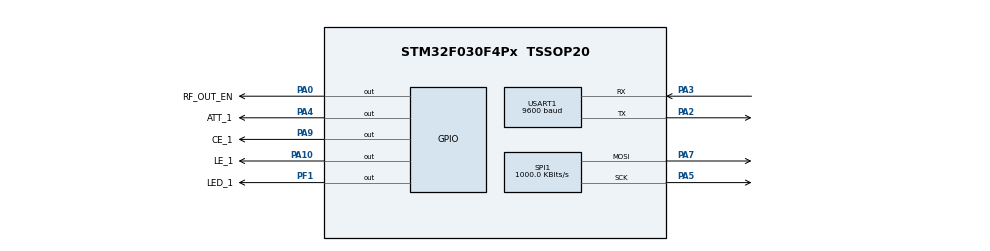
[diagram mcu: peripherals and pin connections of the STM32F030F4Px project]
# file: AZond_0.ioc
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Dma.Request0=USART1_RX
Dma.Request1=USART1_TX
Dma.USART1_RX.0.Direction=DMA_PERIPH_TO_MEMORY
Dma.USART1_RX.0.Instance=DMA1_Channel3
Dma.USART1_RX.0.MemDataAlignment=DMA_MDATAALIGN_BYTE
Dma.USART1_RX.0.MemInc=DMA_MINC_ENABLE
Dma.USART1_RX.0.Mode=DMA_NORMAL
Dma.USART1_RX.0.PeriphDataAlignment=DMA_PDATAALIGN_BYTE
Dma.USART1_RX.0.PeriphInc=DMA_PINC_DISABLE
Dma.USART1_RX.0.Priority=DMA_PRIORITY_HIGH
Dma.USART1_TX.1.Direction=DMA_MEMORY_TO_PERIPH
Dma.USART1_TX.1.Instance=DMA1_Channel2
Dma.USART1_TX.1.MemDataAlignment=DMA_MDATAALIGN_BYTE
Dma.USART1_TX.1.MemInc=DMA_MINC_ENABLE
Dma.USART1_TX.1.Mode=DMA_NORMAL
Dma.USART1_TX.1.PeriphDataAlignment=DMA_PDATAALIGN_BYTE
Dma.USART1_TX.1.PeriphInc=DMA_PINC_DISABLE
Dma.USART1_TX.1.Priority=DMA_PRIORITY_LOW
Mcu.Family=STM32F0
Mcu.Name=STM32F030F4Px
Mcu.Package=TSSOP20
NVIC.DMA1_Channel2_3_IRQn=true\:0\:0\:false\:false\:true\:false\:true\:true
NVIC.USART1_IRQn=true\:0\:0\:false\:false\:true\:true\:true\:true
PA0.GPIO_Label=RF_OUT_EN
PA0.Signal=GPIO_Output
PA10.GPIO_Label=LE_1
PA10.Signal=GPIO_Output
PA13.Mode=Serial_Wire
PA13.Signal=SYS_SWDIO
PA14.Mode=Serial_Wire
PA14.Signal=SYS_SWCLK
PA2.Mode=Asynchronous
PA2.Signal=USART1_TX
PA3.Mode=Asynchronous
PA3.Signal=USART1_RX
PA4.GPIO_Label=ATT_1
PA4.Signal=GPIO_Output
PA5.Mode=TX_Only_Simplex_Unidirect_Master
PA5.Signal=SPI1_SCK
PA7.Mode=TX_Only_Simplex_Unidirect_Master
PA7.Signal=SPI1_MOSI
PA9.GPIO_Label=CE_1
PA9.Signal=GPIO_Output
PF1-OSC_OUT.GPIO_Label=LED_1
PF1-OSC_OUT.Signal=GPIO_Output
ProjectManager.HeapSize=0x200
ProjectManager.StackSize=0x400
ProjectManager.TargetToolchain=STM32CubeIDE
SPI1.BaudRatePrescaler=SPI_BAUDRATEPRESCALER_8
SPI1.CLKPolarity=SPI_POLARITY_LOW
SPI1.CalculateBaudRate=1000.0 KBits/s
SPI1.DataSize=SPI_DATASIZE_8BIT
SPI1.Direction=SPI_DIRECTION_2LINES
SPI1.Mode=SPI_MODE_MASTER
SPI1.VirtualType=VM_MASTER
USART1.BaudRate=9600
USART1.DMADisableonRxErrorParam=ADVFEATURE_DMA_ENABLEONRXERROR
USART1.DataInvertParam=ADVFEATURE_DATAINV_DISABLE
USART1.MSBFirstParam=ADVFEATURE_MSBFIRST_DISABLE
USART1.OverrunDisableParam=ADVFEATURE_OVERRUN_DISABLE
USART1.Parity=PARITY_EVEN
USART1.RxPinLevelInvertParam=ADVFEATURE_RXINV_DISABLE
USART1.SwapParam=ADVFEATURE_SWAP_DISABLE
USART1.VirtualMode-Asynchronous=VM_ASYNC
USART1.WordLength=WORDLENGTH_9B
board=custom

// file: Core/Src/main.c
/* USER CODE BEGIN Header */
/**
  ******************************************************************************
  * @file           : main.c
  * @brief          : Main program body — ПЛАТА ЗОНДА (STM32F010 + MAX2870)
  ******************************************************************************
  *
  *  ВЕРСИЯ: шаг 1 закрыт (патч 1.3). Что изменено относительно исходной:
  *
  *   П1. Приём DMA взводится ОДИН РАЗ в init (после fwc = minF) — всегда готов.
  *   П2. Из while(1) удалён взвод по IDLE+RXNE: именно он терял 8 байт кадра
  *       (OVERRUN_DISABLE молча дропал их) и втягивал «старый» первый байт —
  *       окно съезжало на один. tickUart() больше не нужна — удалена.
  *   П3. HAL_UART_RxCpltCallback: эхо и перевзвод приёма — ВСЕГДА, без
  *       зависимости от flagRxUart; в ветке ошибки — resetUartReceiver().
  *   П4. HAL_UART_ErrorCallback: в конце resetUartReceiver() — приём оживает
  *       и после ошибок.
  *
  *  Всё остальное — без изменений.
  ******************************************************************************
  */
/* USER CODE END Header */

#include "main.h"

/* USER CODE BEGIN Includes */
#include "regEdit.h"
#include "math.h"
#include "string.h"
#include "usart_ring.h"
/* USER CODE END Includes */

/* USER CODE BEGIN PD */
#define SIZE_BF 8
#define SIZE 9
#define FPD 25
/* USER CODE END PD */

SPI_HandleTypeDef hspi1;

UART_HandleTypeDef huart1;
DMA_HandleTypeDef hdma_usart1_rx;
DMA_HandleTypeDef hdma_usart1_tx;

/* USER CODE BEGIN PV */
char strok [9] = {0};
uint8_t ld = 0;
uint8_t pData0 [4] = {0};
uint8_t pData1 [4] = {0};
uint8_t pData2 [4] = {0};
uint8_t pData3 [4] = {0};
uint8_t pData4 [4] = {0};
uint8_t pData5 [4] = {0};
uint8_t pData6 [4] = {0};

extern volatile uint16_t rx_buffer_head;
extern volatile uint16_t rx_buffer_tail;
extern unsigned char rx_buffer[UART_RX_BUFFER_SIZE];

extern structR0  tipDef_0;
extern structR1  tipDef_1;
extern structR2  tipDef_2;
extern structR3  tipDef_3;
extern structR4  tipDef_4;
extern structR5  tipDef_5;
extern remote2 txRem2;
uint32_t registr0 = 0x005980C8;
uint32_t registr1 = 0x200303E9;
uint32_t registr2 = 0x80004A42;
uint32_t registr3 = 0x00000133;
uint32_t registr4 = 0x63DFF2FC;
uint32_t registr5 = 0x01C00005;
uint32_t registr6 = 0x00000006;

volatile uint32_t regRx1 = 0;
volatile uint32_t regRx2 = 0;

uint32_t registrFB = 0;
uint8_t rxData [SIZE] = {0};
uint8_t txData [SIZE] = {0};

volatile float adcData [128] = {0.0};
uint8_t range = 0;
uint8_t rising = 0;
uint8_t flagAdc = 0;
uint16_t intValue = 0;
uint16_t fracValue = 0;
uint16_t modValue = 0;

uint8_t flag = 0;
uint16_t tick = 0;
uint8_t xPosision = 0;
uint8_t yPosision = 0;
uint8_t testCod = 0;
float fractionValue = 0.0;
float integerValue = 0.0;
float modulValue = 1000.0;
float rfdivider = 32.0;
float fwc = 0.0;
FlagStatus flagTxUart = RESET;
FlagStatus flagRxUart = RESET;
FlagStatus errorRx = RESET;
/* П2: tickTx / tickRx удалены — они жили только в tickUart(), а она больше не нужна */
/* USER CODE END PV */

void SystemClock_Config(void);
static void MX_GPIO_Init(void);
static void MX_DMA_Init(void);
static void MX_SPI1_Init(void);
static void MX_USART1_UART_Init(void);

/* USER CODE BEGIN 0 */
void shift (void)
{
	registr0 = initReg0();
	registr1 = initReg1();
	registr2 = initReg2();
	registr3 = initReg3();
	registr4 = initReg4();
	registr5 = initReg5();

	pData0[0] = 0x000000FF & (registr0 >> 24);
	pData0[1] = 0x000000FF & (registr0 >> 16);
	pData0[2] = 0x000000FF & (registr0 >> 8);
	pData0[3] = 0x000000FF & (registr0);

	pData1[0] = 0x000000FF & (registr1 >> 24);
	pData1[1] = 0x000000FF & (registr1 >> 16);
	pData1[2] = 0x000000FF & (registr1 >> 8);
	pData1[3] = 0x000000FF & (registr1);

	pData2[0] = 0x000000FF & (registr2 >> 24);
	pData2[1] = 0x000000FF & (registr2 >> 16);
	pData2[2] = 0x000000FF & (registr2 >> 8);
	pData2[3] = 0x000000FF & (registr2);

	pData3[0] = 0x000000FF & (registr3 >> 24);
	pData3[1] = 0x000000FF & (registr3 >> 16);
	pData3[2] = 0x000000FF & (registr3 >> 8);
	pData3[3] = 0x000000FF & (registr3);

	pData4[0] = 0x000000FF & (registr4 >> 24);
	pData4[1] = 0x000000FF & (registr4 >> 16);
	pData4[2] = 0x000000FF & (registr4 >> 8);
	pData4[3] = 0x000000FF & (registr4);

	pData5[0] = 0x000000FF & (registr5 >> 24);
	pData5[1] = 0x000000FF & (registr5 >> 16);
	pData5[2] = 0x000000FF & (registr5 >> 8);
	pData5[3] = 0x000000FF & (registr5);
}

void shiftRx (void)
{
	regRx1 = 0;
	regRx2 = 0;
	regRx1 |= (rxData[0] << 24);
	regRx1 |= (rxData[1] << 16);
	regRx1 |= (rxData[2] << 8);
	regRx1 |= (rxData[3]);

	regRx2 |= (rxData[4] << 24);
	regRx2 |= (rxData[5] << 16);
	regRx2 |= (rxData[6] << 8);
	regRx2 |= (rxData[7]);
}

void HAL_UART_TxCpltCallback(UART_HandleTypeDef *huart)
{
	flagTxUart = RESET;
}

/* Уже была у вас и была правильной: стоп DMA, чтение RDR, чистка флагов,
 * новый приём. Раньше нигде не вызывалась — теперь зовётся из обоих колбэков. */
void resetUartReceiver(void) {
    // === 1. Останавливаем DMA ===
    HAL_UART_DMAStop(&huart1);

    // === 2. Принудительно читаем RDR (очищаем флаг RXNE) ===
    volatile uint32_t dummy = USART1->RDR;
    (void)dummy;

    // === 3. Сбрасываем флаги ошибок UART ===
    __HAL_UART_CLEAR_FLAG(&huart1, UART_FLAG_PE | UART_FLAG_FE | UART_FLAG_NE | UART_FLAG_ORE);

    // === 4. Перезапускаем приём DMA ===
    HAL_UART_Receive_DMA(&huart1, rxData, SIZE);

    // === 5. Сбрасываем флаги ===
    flagRxUart = RESET;
    flagTxUart = RESET;
    errorRx = RESET;
}

/* П3: переписан целиком.
 * Эхо и перевзвод приёма — ВСЕГДА, а не «если flagRxUart».
 * Ветка ошибки зовёт resetUartReceiver() — окно больше не съезжает. */
void HAL_UART_RxCpltCallback(UART_HandleTypeDef *huart)
{
    LL_GPIO_TogglePin(LED_1_GPIO_Port, LED_1_Pin);

    for (uint8_t i = 0; i < SIZE; i++) txData[i] = rxData[i];

    if (rxData[8] == 0b01010101)          // хвост 0x55 на месте — кадр ровный
    {
        shiftRx();
        bitOperation();
        setRegistr();

        registr0 = initReg0();
        registr1 = initReg1();
        registr2 = initReg2();
        registr3 = initReg3();
        registr4 = initReg4();
        registr5 = initReg5();
        shift();
        spiAdf();

        errorRx = RESET;
        testCod = 0;
    }
    else
    {
        errorRx = SET;
        resetUartReceiver();   // стоп, RDR, флаги, новый приём
    }

    if (flagTxUart == RESET && huart->gState == HAL_UART_STATE_READY)
    {
        HAL_UART_Transmit_IT(huart, txData, SIZE);   // эхо
        flagTxUart = SET;
    }

    if (!errorRx)
        HAL_UART_Receive_DMA(huart, rxData, SIZE);   // перевзвод приёма

    tick = 0;
}

/* П4: в конце добавлен resetUartReceiver() — приём оживает и после ошибок */
void HAL_UART_ErrorCallback(UART_HandleTypeDef *huart)
{
    if (huart == &huart1)
    {
        uint32_t er = HAL_UART_GetError(&huart1);

        if (er & HAL_UART_ERROR_PE)  { __HAL_UART_CLEAR_PEFLAG(&huart1);  }
        if (er & HAL_UART_ERROR_NE)  { __HAL_UART_CLEAR_NEFLAG(&huart1);  }
        if (er & HAL_UART_ERROR_FE)  { __HAL_UART_CLEAR_FEFLAG(&huart1);  }
        if (er & HAL_UART_ERROR_ORE) { __HAL_UART_CLEAR_OREFLAG(&huart1); }
        if (er & HAL_UART_ERROR_DMA) { __HAL_UART_CLEAR_NEFLAG(&huart1);  }

        huart->ErrorCode = HAL_UART_ERROR_NONE;
        flagRxUart = RESET;
        flagTxUart = RESET;

        resetUartReceiver();   // <-- П4: одна строка, приём больше не умирает
    }
}

/* П2: tickUart() удалена — приём больше не живёт «по тикам», он в колбэках. */

void setAtt (void)
{
	if(txRem2.attenuator1 == 1)
	{
		LL_GPIO_SetOutputPin(ATT_1_GPIO_Port, ATT_1_Pin);
	}
	else{
		LL_GPIO_ResetOutputPin(ATT_1_GPIO_Port, ATT_1_Pin);
	}
}
/* USER CODE END 0 */

int main(void)
{
  /* MCU Configuration--------------------------------------------------------*/
  HAL_Init();

  /* Configure the system clock */
  SystemClock_Config();

  /* Initialize all configured peripherals */
  MX_GPIO_Init();
  MX_DMA_Init();
  MX_SPI1_Init();
  MX_USART1_UART_Init();

  /* USER CODE BEGIN 2 */
  defoultSet();
  LL_GPIO_SetOutputPin(CE_1_GPIO_Port, CE_1_Pin);
  LL_GPIO_SetOutputPin(RF_OUT_EN_GPIO_Port, RF_OUT_EN_Pin);
  LL_GPIO_SetOutputPin(LE_1_GPIO_Port, LE_1_Pin);
  LL_mDelay(100);

  float minF = 800.0;
  fwc = minF;

  /* П1: приём взведён ОДИН РАЗ — дальше он поддерживает себя сам:
   *     перевзводится в HAL_UART_RxCpltCallback и в HAL_UART_ErrorCallback.
   *     Раньше взвод стоял в while(1) и ждал IDLE+RXNE — терял байты. */
  HAL_UART_Receive_DMA(&huart1, rxData, SIZE);
  /* USER CODE END 2 */

  /* Infinite loop */
  /* USER CODE BEGIN WHILE */
  while (1)
  {
    /* П2: весь обмен теперь живёт в прерываниях:
     *   DMA-приём -> HAL_UART_RxCpltCallback (разбор, SPI в MAX2870, эхо)
     *   ошибки    -> HAL_UART_ErrorCallback (resetUartReceiver)
     * Между кадрами ядро спит — заодно меньше собственных шумов. */
    __WFI();

    /* Старый тестовый перебор частот (если понадобится, раскомментировать):
    if(fwc < maxF)
    {
        fricvancy(fwc);
        fwc += 1;
    }
    else
    {
        fwc = minF;
    }
    */
  }
  /* USER CODE END WHILE */
}

void SystemClock_Config(void)
{
  LL_FLASH_SetLatency(LL_FLASH_LATENCY_0);
  while(LL_FLASH_GetLatency() != LL_FLASH_LATENCY_0)
  {
  }
  LL_RCC_HSI_Enable();

   /* Wait till HSI is ready */
  while(LL_RCC_HSI_IsReady() != 1)
  {

  }
  LL_RCC_HSI_SetCalibTrimming(16);
  LL_RCC_SetAHBPrescaler(LL_RCC_SYSCLK_DIV_1);
  LL_RCC_SetAPB1Prescaler(LL_RCC_APB1_DIV_1);
  LL_RCC_SetSysClkSource(LL_RCC_SYS_CLKSOURCE_HSI);

   /* Wait till System clock is ready */
  while(LL_RCC_GetSysClkSource() != LL_RCC_SYS_CLKSOURCE_STATUS_HSI)
  {

  }
  LL_SetSystemCoreClock(8000000);

   /* Update the time base */
  if (HAL_InitTick (TICK_INT_PRIORITY) != HAL_OK)
  {
    Error_Handler();
  }
  LL_RCC_SetUSARTClockSource(LL_RCC_USART1_CLKSOURCE_PCLK1);
}

static void MX_SPI1_Init(void)
{

  /* SPI1 parameter configuration*/
  hspi1.Instance = SPI1;
  hspi1.Init.Mode = SPI_MODE_MASTER;
  hspi1.Init.Direction = SPI_DIRECTION_2LINES;
  hspi1.Init.DataSize = SPI_DATASIZE_8BIT;
  hspi1.Init.CLKPolarity = SPI_POLARITY_LOW;
  hspi1.Init.CLKPhase = SPI_PHASE_1EDGE;
  hspi1.Init.NSS = SPI_NSS_SOFT;
  hspi1.Init.BaudRatePrescaler = SPI_BAUDRATEPRESCALER_8;
  hspi1.Init.FirstBit = SPI_FIRSTBIT_MSB;
  hspi1.Init.TIMode = SPI_TIMODE_DISABLE;
  hspi1.Init.CRCCalculation = SPI_CRCCALCULATION_DISABLE;
  hspi1.Init.CRCPolynomial = 7;
  hspi1.Init.CRCLength = SPI_CRC_LENGTH_DATASIZE;
  hspi1.Init.NSSPMode = SPI_NSS_PULSE_ENABLE;
  if (HAL_SPI_Init(&hspi1) != HAL_OK)
  {
    Error_Handler();
  }

}

static void MX_USART1_UART_Init(void)
{

  huart1.Instance = USART1;
  huart1.Init.BaudRate = 9600;
  huart1.Init.WordLength = UART_WORDLENGTH_8B;
  huart1.Init.StopBits = UART_STOPBITS_1;
  huart1.Init.Parity = UART_PARITY_EVEN;
  huart1.Init.Mode = UART_MODE_TX_RX;
  huart1.Init.HwFlowCtl = UART_HWCONTROL_NONE;
  huart1.Init.OverSampling = UART_OVERSAMPLING_16;
  huart1.Init.OneBitSampling = UART_ONE_BIT_SAMPLE_DISABLE;
  huart1.AdvancedInit.AdvFeatureInit = UART_ADVFEATURE_RXOVERRUNDISABLE_INIT;
  huart1.AdvancedInit.OverrunDisable = UART_ADVFEATURE_OVERRUN_DISABLE;
  if (HAL_UART_Init(&huart1) != HAL_OK)
  {
    Error_Handler();
  }

}

static void MX_DMA_Init(void)
{

  /* DMA controller clock enable */
  __HAL_RCC_DMA1_CLK_ENABLE();

  /* DMA interrupt init */
  /* DMA1_Channel2_3_IRQn interrupt configuration */
  HAL_NVIC_SetPriority(DMA1_Channel2_3_IRQn, 0, 0);
  HAL_NVIC_EnableIRQ(DMA1_Channel2_3_IRQn);

}

static void MX_GPIO_Init(void)
{
  LL_GPIO_InitTypeDef GPIO_InitStruct = {0};

  /* GPIO Ports Clock Enable */
  LL_AHB1_GRP1_EnableClock(LL_AHB1_GRP1_PERIPH_GPIOF);
  LL_AHB1_GRP1_EnableClock(LL_AHB1_GRP1_PERIPH_GPIOA);

  /**/
  LL_GPIO_ResetOutputPin(LED_1_GPIO_Port, LED_1_Pin);

  /**/
  LL_GPIO_ResetOutputPin(RF_OUT_EN_GPIO_Port, RF_OUT_EN_Pin);

  /**/
  LL_GPIO_ResetOutputPin(ATT_1_GPIO_Port, ATT_1_Pin);

  /**/
  LL_GPIO_ResetOutputPin(CE_1_GPIO_Port, CE_1_Pin);

  /**/
  LL_GPIO_ResetOutputPin(LE_1_GPIO_Port, LE_1_Pin);

  /**/
  GPIO_InitStruct.Pin = LED_1_Pin;
  GPIO_InitStruct.Mode = LL_GPIO_MODE_OUTPUT;
  GPIO_InitStruct.Speed = LL_GPIO_SPEED_FREQ_LOW;
  GPIO_InitStruct.OutputType = LL_GPIO_OUTPUT_PUSHPULL;
  GPIO_InitStruct.Pull = LL_GPIO_PULL_NO;
  LL_GPIO_Init(LED_1_GPIO_Port, &GPIO_InitStruct);

  /**/
  GPIO_InitStruct.Pin = RF_OUT_EN_Pin;
  GPIO_InitStruct.Mode = LL_GPIO_MODE_OUTPUT;
  GPIO_InitStruct.Speed = LL_GPIO_SPEED_FREQ_LOW;
  GPIO_InitStruct.OutputType = LL_GPIO_OUTPUT_PUSHPULL;
  GPIO_InitStruct.Pull = LL_GPIO_PULL_NO;
  LL_GPIO_Init(RF_OUT_EN_GPIO_Port, &GPIO_InitStruct);

  /**/
  GPIO_InitStruct.Pin = ATT_1_Pin;
  GPIO_InitStruct.Mode = LL_GPIO_MODE_OUTPUT;
  GPIO_InitStruct.Speed = LL_GPIO_SPEED_FREQ_LOW;
  GPIO_InitStruct.OutputType = LL_GPIO_OUTPUT_PUSHPULL;
  GPIO_InitStruct.Pull = LL_GPIO_PULL_NO;
  LL_GPIO_Init(ATT_1_GPIO_Port, &GPIO_InitStruct);

  /**/
  GPIO_InitStruct.Pin = CE_1_Pin;
  GPIO_InitStruct.Mode = LL_GPIO_MODE_OUTPUT;
  GPIO_InitStruct.Speed = LL_GPIO_SPEED_FREQ_LOW;
  GPIO_InitStruct.OutputType = LL_GPIO_OUTPUT_PUSHPULL;
  GPIO_InitStruct.Pull = LL_GPIO_PULL_NO;
  LL_GPIO_Init(CE_1_GPIO_Port, &GPIO_InitStruct);

  /**/
  GPIO_InitStruct.Pin = LE_1_Pin;
  GPIO_InitStruct.Mode = LL_GPIO_MODE_OUTPUT;
  GPIO_InitStruct.Speed = LL_GPIO_SPEED_FREQ_LOW;
  GPIO_InitStruct.OutputType = LL_GPIO_OUTPUT_PUSHPULL;
  GPIO_InitStruct.Pull = LL_GPIO_PULL_NO;
  LL_GPIO_Init(LE_1_GPIO_Port, &GPIO_InitStruct);

}

void Error_Handler(void)
{
  __disable_irq();
  while (1)
  {
  }
}
